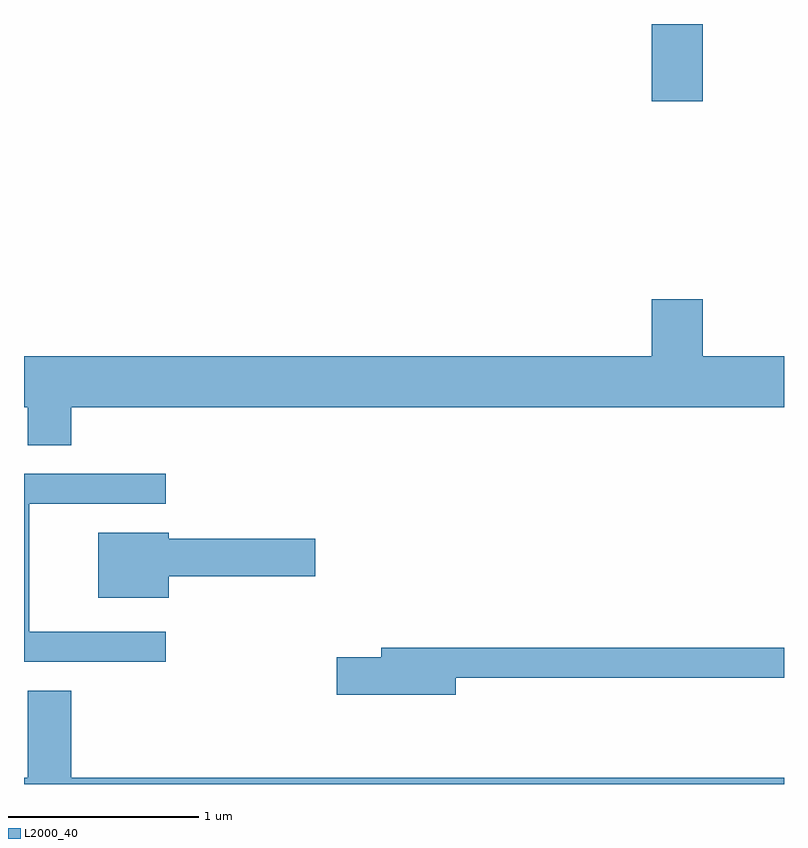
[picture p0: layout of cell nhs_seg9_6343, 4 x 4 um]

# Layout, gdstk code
import gdstk
lib = gdstk.Library(unit=1e-6, precision=1e-09)
def R(c, l, rs):  # rectangles x0, y0, x1, y1
    for r in rs: c.add(gdstk.rectangle(r[:2], r[2:], *l))
def P(c, l, *ps):  # polygons
    for p in ps: c.add(gdstk.Polygon(p, *l))
L2000_40 = (2000, 40)

nhs_seg9_6343 = lib.new_cell('nhs_seg9_6343')
R(nhs_seg9_6343, L2000_40, [(374.916,2060.026,375.184,2060.432)])
P(nhs_seg9_6343, L2000_40, [(371.859,2058.416),(375.611,2058.416),(375.611,2058.684),(375.184,2058.684),(375.184,2058.984),(374.916,2058.984),(374.916,2058.684),(371.611,2058.684),(371.611,2058.416),(371.631,2058.416),(371.631,2058.216),(371.859,2058.216)],
  [(372.358,2057.234),(371.639,2057.234),(371.639,2057.906),(372.358,2057.906),(372.358,2058.064),(371.611,2058.064),(371.611,2057.076),(372.358,2057.076)],
  [(372.374,2057.526),(373.144,2057.526),(373.144,2057.724),(372.374,2057.724),(372.374,2057.754),(372.001,2057.754),(372.001,2057.411),(372.374,2057.411)],
  [(373.884,2056.991),(375.611,2056.991),(375.611,2057.149),(373.491,2057.149),(373.491,2057.099),(373.256,2057.099),(373.256,2056.901),(373.884,2056.901)],
  [(375.611,2056.464),(371.859,2056.464),(371.859,2056.924),(371.631,2056.924),(371.631,2056.464),(371.611,2056.464),(371.611,2056.432),(375.611,2056.432)])

lib.write_gds('nhs_seg9_6343.gds')
